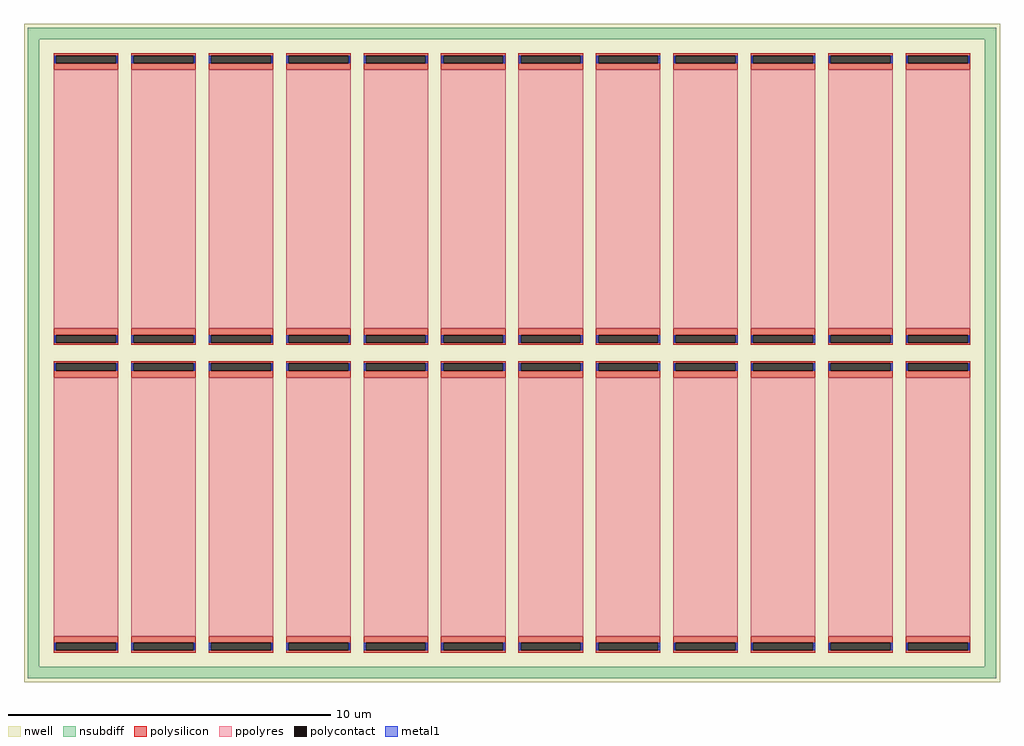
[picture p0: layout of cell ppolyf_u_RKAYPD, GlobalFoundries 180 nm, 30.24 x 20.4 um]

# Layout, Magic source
magic
tech gf180mcuC
magscale 1 10
<< nwell >>
rect -3024 -2040 3024 2040
<< nsubdiff >>
rect -3000 1944 3000 2016
rect -3000 -1944 -2928 1944
rect 2928 -1944 3000 1944
rect -3000 -2016 3000 -1944
<< polysilicon >>
rect -2840 1843 -2440 1856
rect -2840 1797 -2827 1843
rect -2453 1797 -2440 1843
rect -2840 1754 -2440 1797
rect -2840 111 -2440 154
rect -2840 65 -2827 111
rect -2453 65 -2440 111
rect -2840 52 -2440 65
rect -2360 1843 -1960 1856
rect -2360 1797 -2347 1843
rect -1973 1797 -1960 1843
rect -2360 1754 -1960 1797
rect -2360 111 -1960 154
rect -2360 65 -2347 111
rect -1973 65 -1960 111
rect -2360 52 -1960 65
rect -1880 1843 -1480 1856
rect -1880 1797 -1867 1843
rect -1493 1797 -1480 1843
rect -1880 1754 -1480 1797
rect -1880 111 -1480 154
rect -1880 65 -1867 111
rect -1493 65 -1480 111
rect -1880 52 -1480 65
rect -1400 1843 -1000 1856
rect -1400 1797 -1387 1843
rect -1013 1797 -1000 1843
rect -1400 1754 -1000 1797
rect -1400 111 -1000 154
rect -1400 65 -1387 111
rect -1013 65 -1000 111
rect -1400 52 -1000 65
rect -920 1843 -520 1856
rect -920 1797 -907 1843
rect -533 1797 -520 1843
rect -920 1754 -520 1797
rect -920 111 -520 154
rect -920 65 -907 111
rect -533 65 -520 111
rect -920 52 -520 65
rect -440 1843 -40 1856
rect -440 1797 -427 1843
rect -53 1797 -40 1843
rect -440 1754 -40 1797
rect -440 111 -40 154
rect -440 65 -427 111
rect -53 65 -40 111
rect -440 52 -40 65
rect 40 1843 440 1856
rect 40 1797 53 1843
rect 427 1797 440 1843
rect 40 1754 440 1797
rect 40 111 440 154
rect 40 65 53 111
rect 427 65 440 111
rect 40 52 440 65
rect 520 1843 920 1856
rect 520 1797 533 1843
rect 907 1797 920 1843
rect 520 1754 920 1797
rect 520 111 920 154
rect 520 65 533 111
rect 907 65 920 111
rect 520 52 920 65
rect 1000 1843 1400 1856
rect 1000 1797 1013 1843
rect 1387 1797 1400 1843
rect 1000 1754 1400 1797
rect 1000 111 1400 154
rect 1000 65 1013 111
rect 1387 65 1400 111
rect 1000 52 1400 65
rect 1480 1843 1880 1856
rect 1480 1797 1493 1843
rect 1867 1797 1880 1843
rect 1480 1754 1880 1797
rect 1480 111 1880 154
rect 1480 65 1493 111
rect 1867 65 1880 111
rect 1480 52 1880 65
rect 1960 1843 2360 1856
rect 1960 1797 1973 1843
rect 2347 1797 2360 1843
rect 1960 1754 2360 1797
rect 1960 111 2360 154
rect 1960 65 1973 111
rect 2347 65 2360 111
rect 1960 52 2360 65
rect 2440 1843 2840 1856
rect 2440 1797 2453 1843
rect 2827 1797 2840 1843
rect 2440 1754 2840 1797
rect 2440 111 2840 154
rect 2440 65 2453 111
rect 2827 65 2840 111
rect 2440 52 2840 65
rect -2840 -65 -2440 -52
rect -2840 -111 -2827 -65
rect -2453 -111 -2440 -65
rect -2840 -154 -2440 -111
rect -2840 -1797 -2440 -1754
rect -2840 -1843 -2827 -1797
rect -2453 -1843 -2440 -1797
rect -2840 -1856 -2440 -1843
rect -2360 -65 -1960 -52
rect -2360 -111 -2347 -65
rect -1973 -111 -1960 -65
rect -2360 -154 -1960 -111
rect -2360 -1797 -1960 -1754
rect -2360 -1843 -2347 -1797
rect -1973 -1843 -1960 -1797
rect -2360 -1856 -1960 -1843
rect -1880 -65 -1480 -52
rect -1880 -111 -1867 -65
rect -1493 -111 -1480 -65
rect -1880 -154 -1480 -111
rect -1880 -1797 -1480 -1754
rect -1880 -1843 -1867 -1797
rect -1493 -1843 -1480 -1797
rect -1880 -1856 -1480 -1843
rect -1400 -65 -1000 -52
rect -1400 -111 -1387 -65
rect -1013 -111 -1000 -65
rect -1400 -154 -1000 -111
rect -1400 -1797 -1000 -1754
rect -1400 -1843 -1387 -1797
rect -1013 -1843 -1000 -1797
rect -1400 -1856 -1000 -1843
rect -920 -65 -520 -52
rect -920 -111 -907 -65
rect -533 -111 -520 -65
rect -920 -154 -520 -111
rect -920 -1797 -520 -1754
rect -920 -1843 -907 -1797
rect -533 -1843 -520 -1797
rect -920 -1856 -520 -1843
rect -440 -65 -40 -52
rect -440 -111 -427 -65
rect -53 -111 -40 -65
rect -440 -154 -40 -111
rect -440 -1797 -40 -1754
rect -440 -1843 -427 -1797
rect -53 -1843 -40 -1797
rect -440 -1856 -40 -1843
rect 40 -65 440 -52
rect 40 -111 53 -65
rect 427 -111 440 -65
rect 40 -154 440 -111
rect 40 -1797 440 -1754
rect 40 -1843 53 -1797
rect 427 -1843 440 -1797
rect 40 -1856 440 -1843
rect 520 -65 920 -52
rect 520 -111 533 -65
rect 907 -111 920 -65
rect 520 -154 920 -111
rect 520 -1797 920 -1754
rect 520 -1843 533 -1797
rect 907 -1843 920 -1797
rect 520 -1856 920 -1843
rect 1000 -65 1400 -52
rect 1000 -111 1013 -65
rect 1387 -111 1400 -65
rect 1000 -154 1400 -111
rect 1000 -1797 1400 -1754
rect 1000 -1843 1013 -1797
rect 1387 -1843 1400 -1797
rect 1000 -1856 1400 -1843
rect 1480 -65 1880 -52
rect 1480 -111 1493 -65
rect 1867 -111 1880 -65
rect 1480 -154 1880 -111
rect 1480 -1797 1880 -1754
rect 1480 -1843 1493 -1797
rect 1867 -1843 1880 -1797
rect 1480 -1856 1880 -1843
rect 1960 -65 2360 -52
rect 1960 -111 1973 -65
rect 2347 -111 2360 -65
rect 1960 -154 2360 -111
rect 1960 -1797 2360 -1754
rect 1960 -1843 1973 -1797
rect 2347 -1843 2360 -1797
rect 1960 -1856 2360 -1843
rect 2440 -65 2840 -52
rect 2440 -111 2453 -65
rect 2827 -111 2840 -65
rect 2440 -154 2840 -111
rect 2440 -1797 2840 -1754
rect 2440 -1843 2453 -1797
rect 2827 -1843 2840 -1797
rect 2440 -1856 2840 -1843
<< polycontact >>
rect -2827 1797 -2453 1843
rect -2827 65 -2453 111
rect -2347 1797 -1973 1843
rect -2347 65 -1973 111
rect -1867 1797 -1493 1843
rect -1867 65 -1493 111
rect -1387 1797 -1013 1843
rect -1387 65 -1013 111
rect -907 1797 -533 1843
rect -907 65 -533 111
rect -427 1797 -53 1843
rect -427 65 -53 111
rect 53 1797 427 1843
rect 53 65 427 111
rect 533 1797 907 1843
rect 533 65 907 111
rect 1013 1797 1387 1843
rect 1013 65 1387 111
rect 1493 1797 1867 1843
rect 1493 65 1867 111
rect 1973 1797 2347 1843
rect 1973 65 2347 111
rect 2453 1797 2827 1843
rect 2453 65 2827 111
rect -2827 -111 -2453 -65
rect -2827 -1843 -2453 -1797
rect -2347 -111 -1973 -65
rect -2347 -1843 -1973 -1797
rect -1867 -111 -1493 -65
rect -1867 -1843 -1493 -1797
rect -1387 -111 -1013 -65
rect -1387 -1843 -1013 -1797
rect -907 -111 -533 -65
rect -907 -1843 -533 -1797
rect -427 -111 -53 -65
rect -427 -1843 -53 -1797
rect 53 -111 427 -65
rect 53 -1843 427 -1797
rect 533 -111 907 -65
rect 533 -1843 907 -1797
rect 1013 -111 1387 -65
rect 1013 -1843 1387 -1797
rect 1493 -111 1867 -65
rect 1493 -1843 1867 -1797
rect 1973 -111 2347 -65
rect 1973 -1843 2347 -1797
rect 2453 -111 2827 -65
rect 2453 -1843 2827 -1797
<< ppolyres >>
rect -2840 154 -2440 1754
rect -2360 154 -1960 1754
rect -1880 154 -1480 1754
rect -1400 154 -1000 1754
rect -920 154 -520 1754
rect -440 154 -40 1754
rect 40 154 440 1754
rect 520 154 920 1754
rect 1000 154 1400 1754
rect 1480 154 1880 1754
rect 1960 154 2360 1754
rect 2440 154 2840 1754
rect -2840 -1754 -2440 -154
rect -2360 -1754 -1960 -154
rect -1880 -1754 -1480 -154
rect -1400 -1754 -1000 -154
rect -920 -1754 -520 -154
rect -440 -1754 -40 -154
rect 40 -1754 440 -154
rect 520 -1754 920 -154
rect 1000 -1754 1400 -154
rect 1480 -1754 1880 -154
rect 1960 -1754 2360 -154
rect 2440 -1754 2840 -154
<< metal1 >>
rect -2838 1797 -2827 1843
rect -2453 1797 -2442 1843
rect -2358 1797 -2347 1843
rect -1973 1797 -1962 1843
rect -1878 1797 -1867 1843
rect -1493 1797 -1482 1843
rect -1398 1797 -1387 1843
rect -1013 1797 -1002 1843
rect -918 1797 -907 1843
rect -533 1797 -522 1843
rect -438 1797 -427 1843
rect -53 1797 -42 1843
rect 42 1797 53 1843
rect 427 1797 438 1843
rect 522 1797 533 1843
rect 907 1797 918 1843
rect 1002 1797 1013 1843
rect 1387 1797 1398 1843
rect 1482 1797 1493 1843
rect 1867 1797 1878 1843
rect 1962 1797 1973 1843
rect 2347 1797 2358 1843
rect 2442 1797 2453 1843
rect 2827 1797 2838 1843
rect -2838 65 -2827 111
rect -2453 65 -2442 111
rect -2358 65 -2347 111
rect -1973 65 -1962 111
rect -1878 65 -1867 111
rect -1493 65 -1482 111
rect -1398 65 -1387 111
rect -1013 65 -1002 111
rect -918 65 -907 111
rect -533 65 -522 111
rect -438 65 -427 111
rect -53 65 -42 111
rect 42 65 53 111
rect 427 65 438 111
rect 522 65 533 111
rect 907 65 918 111
rect 1002 65 1013 111
rect 1387 65 1398 111
rect 1482 65 1493 111
rect 1867 65 1878 111
rect 1962 65 1973 111
rect 2347 65 2358 111
rect 2442 65 2453 111
rect 2827 65 2838 111
rect -2838 -111 -2827 -65
rect -2453 -111 -2442 -65
rect -2358 -111 -2347 -65
rect -1973 -111 -1962 -65
rect -1878 -111 -1867 -65
rect -1493 -111 -1482 -65
rect -1398 -111 -1387 -65
rect -1013 -111 -1002 -65
rect -918 -111 -907 -65
rect -533 -111 -522 -65
rect -438 -111 -427 -65
rect -53 -111 -42 -65
rect 42 -111 53 -65
rect 427 -111 438 -65
rect 522 -111 533 -65
rect 907 -111 918 -65
rect 1002 -111 1013 -65
rect 1387 -111 1398 -65
rect 1482 -111 1493 -65
rect 1867 -111 1878 -65
rect 1962 -111 1973 -65
rect 2347 -111 2358 -65
rect 2442 -111 2453 -65
rect 2827 -111 2838 -65
rect -2838 -1843 -2827 -1797
rect -2453 -1843 -2442 -1797
rect -2358 -1843 -2347 -1797
rect -1973 -1843 -1962 -1797
rect -1878 -1843 -1867 -1797
rect -1493 -1843 -1482 -1797
rect -1398 -1843 -1387 -1797
rect -1013 -1843 -1002 -1797
rect -918 -1843 -907 -1797
rect -533 -1843 -522 -1797
rect -438 -1843 -427 -1797
rect -53 -1843 -42 -1797
rect 42 -1843 53 -1797
rect 427 -1843 438 -1797
rect 522 -1843 533 -1797
rect 907 -1843 918 -1797
rect 1002 -1843 1013 -1797
rect 1387 -1843 1398 -1797
rect 1482 -1843 1493 -1797
rect 1867 -1843 1878 -1797
rect 1962 -1843 1973 -1797
rect 2347 -1843 2358 -1797
rect 2442 -1843 2453 -1797
rect 2827 -1843 2838 -1797
<< properties >>
string FIXED_BBOX -2964 -1980 2964 1980
string gencell ppolyf_u
string library gf180mcu
string parameters w 2.0 l 8.0 m 2 nx 12 wmin 0.80 lmin 1.00 rho 315 val 1.305k dummy 0 dw 0.07 term 0.0 sterm 0.0 caplen 0.4 snake 0 glc 0 grc 0 gtc 0 gbc 0 roverlap 0 endcov 100 full_metal 0
<< end >>
